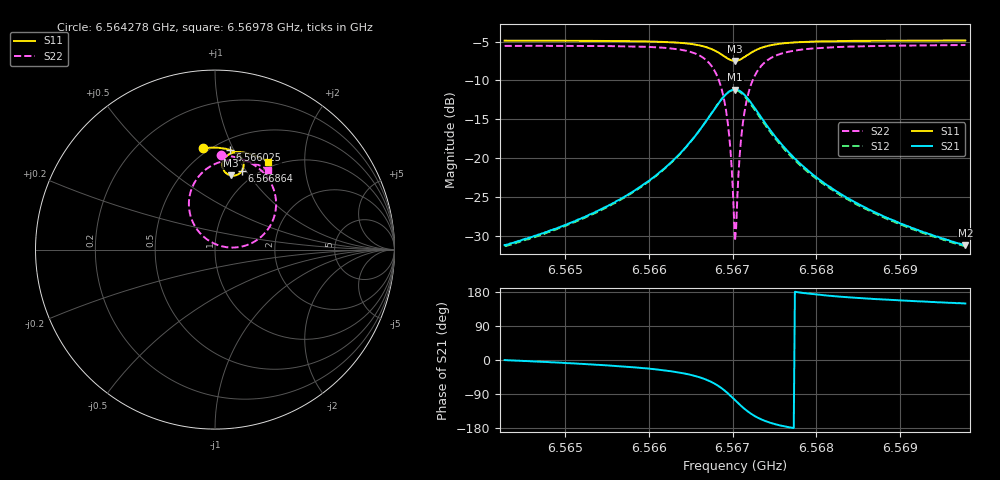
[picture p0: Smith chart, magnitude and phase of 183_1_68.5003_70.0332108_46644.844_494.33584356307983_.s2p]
#  HZ  S  RI  R  50.00
! Rohde & Schwarz Vector Network Analyzer
! Rohde-Schwarz,ZNB20-2Port,1311601062101988,3.16
! Created: UTC 3/20/2024, 4:56:47 PM
! freq[Hz]  re:S11  im:S11  re:S21  im:S21  re:S12  im:S12  re:S22  im:S22
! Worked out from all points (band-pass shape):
!   401 points, 6.564278 GHz to 6.56978 GHz, reference 50 ohm
!   highest |S21| = -11.16 dB at 6.567029 GHz (marker M1); lowest = -31.2 dB at 6.56978 GHz (marker M2)
!   |S21| within 3 dB of the highest: 6.566753 GHz to 6.567304 GHz (551.3 kHz wide, 0.00839 % of centre)
!   lowest |S11| = -7.5 dB at 6.567029 GHz (marker M3), VSWR 2.46, Z = 41 + j41.2 ohm
!   |S11| at or under -10 dB: nowhere
!   |S22| runs from -30.6 to -5.5 dB; largest |S21 - S12| = 0.013
!   S11 on the Smith chart (normalised r, x): 6.564278 GHz: 0.46, +0.77; 6.566025 GHz: 0.60, +0.97; 6.566864 GHz: 0.86, +0.96; 6.56978 GHz: 0.91, +1.33
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6.5642783e9  -0.0686 0.5651  0.0278 -7.92e-05  0.0274 -0.000637  0.0318 0.5261
6.5651997e9  0.00667 0.5681  0.0408 -0.00737  0.0401 -0.00787  0.1188 0.5133
6.5660249e9  0.083 0.5558  0.0675 -0.0291  0.0664 -0.0298  0.2241 0.4674
6.5661212e9  0.0932 0.5522  0.0727 -0.035  0.0716 -0.0358  0.2403 0.4557
6.5664238e9  0.1279 0.5333  0.0937 -0.0669  0.092 -0.0682  0.299 0.3924
6.5666438e9  0.1531 0.5024  0.1073 -0.1208  0.1046 -0.1231  0.3381 0.2882
6.5667676e9  0.1599 0.4717  0.0997 -0.1749  0.0953 -0.178  0.3302 0.1851
6.5668639e9  0.151 0.4404  0.0671 -0.2281  0.0595 -0.2311  0.2718 0.0853
6.5669464e9  0.1257 0.4175  0.00716 -0.2652  -0.00387 -0.2652  0.1617 0.02
6.5669739e9  0.1138 0.4132  -0.0193 -0.2708  -0.0309 -0.269  0.1141 0.0118
6.5670152e9  0.0942 0.4119  -0.0612 -0.2694  -0.0729 -0.2646  0.0395 0.0181
6.5670289e9  0.0876 0.413  -0.0752 -0.2663  -0.0865 -0.2605  0.0153 0.0253
6.5670427e9  0.0812 0.4148  -0.0885 -0.2616  -0.0996 -0.2549  -0.00785 0.035
6.5670564e9  0.0751 0.4173  -0.1013 -0.2559  -0.112 -0.248  -0.0299 0.047
6.5670977e9  0.059 0.4284  -0.1351 -0.2319  -0.1433 -0.2219  -0.0852 0.0935
6.5671389e9  0.0482 0.4435  -0.1593 -0.2017  -0.1646 -0.1906  -0.1221 0.1498
6.567194e9  0.0418 0.4647  -0.1759 -0.1594  -0.178 -0.1485  -0.1438 0.2258
6.5672627e9  0.0439 0.4887  -0.1784 -0.1127  -0.1777 -0.1034  -0.1396 0.3072
6.5675103e9  0.0822 0.5326  -0.1352 -0.0251  -0.1322 -0.021  -0.0417 0.4534
6.5679504e9  0.1428 0.5429  -0.0789 0.0082  -0.0771 0.0096  0.0876 0.4993
6.5688718e9  0.2279 0.5218  -0.0382 0.0147  -0.0373 0.0151  0.2175 0.4809
6.5697796e9  0.2946 0.4891  -0.0238 0.0142  -0.0233 0.0144  0.2964 0.444
